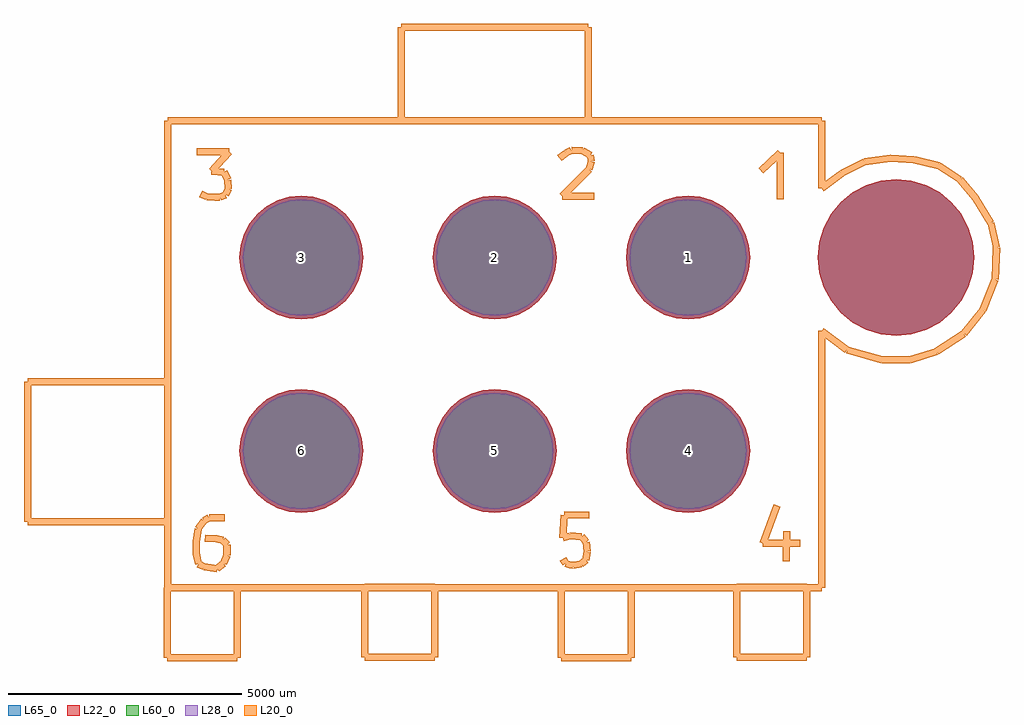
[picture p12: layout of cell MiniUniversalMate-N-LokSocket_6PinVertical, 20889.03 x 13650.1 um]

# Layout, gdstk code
import gdstk
lib = gdstk.Library(unit=1e-6, precision=1e-09)
def P(c, l, *ps):  # polygons
    for p in ps: c.add(gdstk.Polygon(p, *l))
L20_0 = (20, 0)
L22_0 = (22, 0)
L28_0 = (28, 0)
L60_0 = (60, 0)
L65_0 = (65, 0)

miniuniversalmate_n_loks = lib.new_cell('MiniUniversalMate-N-LokSocket_6PinVertical')
P(miniuniversalmate_n_loks, L22_0, [(10265.48,2070.1),(10233.292,2396.915),(10137.963,2711.171),(9983.158,3000.791),(9774.825,3254.645),(9520.971,3462.978),(9231.351,3617.783),(8917.095,3713.112),(8590.28,3745.3),(8263.465,3713.112),(7949.209,3617.783),(7659.589,3462.978),(7405.735,3254.645),(7197.402,3000.791),(7042.597,2711.171),(6947.268,2396.915),(6915.08,2070.1),(6947.268,1743.285),(7042.597,1429.029),(7197.402,1139.409),(7405.735,885.555),(7659.589,677.222),(7949.209,522.417),(8263.465,427.088),(8590.28,394.9),(8917.095,427.088),(9231.351,522.417),(9520.971,677.222),(9774.825,885.555),(9983.158,1139.409),(10137.963,1429.029),(10233.292,1743.285)],
  [(-2815.52,-2070.1),(-2840.973,-1811.668),(-2916.355,-1563.167),(-3038.769,-1334.147),(-3203.51,-1133.41),(-3404.247,-968.669),(-3633.267,-846.255),(-3881.768,-770.873),(-4140.2,-745.42),(-4398.632,-770.873),(-4647.133,-846.255),(-4876.153,-968.669),(-5076.89,-1133.41),(-5241.631,-1334.147),(-5364.045,-1563.167),(-5439.427,-1811.668),(-5464.88,-2070.1),(-5439.427,-2328.532),(-5364.045,-2577.033),(-5241.631,-2806.053),(-5076.89,-3006.79),(-4876.153,-3171.531),(-4647.133,-3293.945),(-4398.632,-3369.327),(-4140.2,-3394.78),(-3881.768,-3369.327),(-3633.267,-3293.945),(-3404.247,-3171.531),(-3203.51,-3006.79),(-3038.769,-2806.053),(-2916.355,-2577.033),(-2840.973,-2328.532)],
  [(1324.68,-2070.1),(1299.227,-1811.668),(1223.845,-1563.167),(1101.431,-1334.147),(936.69,-1133.41),(735.953,-968.669),(506.933,-846.255),(258.432,-770.873),(0,-745.42),(-258.432,-770.873),(-506.933,-846.255),(-735.953,-968.669),(-936.69,-1133.41),(-1101.431,-1334.147),(-1223.845,-1563.167),(-1299.227,-1811.668),(-1324.68,-2070.1),(-1299.227,-2328.532),(-1223.845,-2577.033),(-1101.431,-2806.053),(-936.69,-3006.79),(-735.953,-3171.531),(-506.933,-3293.945),(-258.432,-3369.327),(0,-3394.78),(258.432,-3369.327),(506.933,-3293.945),(735.953,-3171.531),(936.69,-3006.79),(1101.431,-2806.053),(1223.845,-2577.033),(1299.227,-2328.532)],
  [(5464.88,-2070.1),(5439.427,-1811.668),(5364.045,-1563.167),(5241.631,-1334.147),(5076.89,-1133.41),(4876.153,-968.669),(4647.133,-846.255),(4398.632,-770.873),(4140.2,-745.42),(3881.768,-770.873),(3633.267,-846.255),(3404.247,-968.669),(3203.51,-1133.41),(3038.769,-1334.147),(2916.355,-1563.167),(2840.973,-1811.668),(2815.52,-2070.1),(2840.973,-2328.532),(2916.355,-2577.033),(3038.769,-2806.053),(3203.51,-3006.79),(3404.247,-3171.531),(3633.267,-3293.945),(3881.768,-3369.327),(4140.2,-3394.78),(4398.632,-3369.327),(4647.133,-3293.945),(4876.153,-3171.531),(5076.89,-3006.79),(5241.631,-2806.053),(5364.045,-2577.033),(5439.427,-2328.532)],
  [(-2815.52,2070.1),(-2840.973,2328.532),(-2916.355,2577.033),(-3038.769,2806.053),(-3203.51,3006.79),(-3404.247,3171.531),(-3633.267,3293.945),(-3881.768,3369.327),(-4140.2,3394.78),(-4398.632,3369.327),(-4647.133,3293.945),(-4876.153,3171.531),(-5076.89,3006.79),(-5241.631,2806.053),(-5364.045,2577.033),(-5439.427,2328.532),(-5464.88,2070.1),(-5439.427,1811.668),(-5364.045,1563.167),(-5241.631,1334.147),(-5076.89,1133.41),(-4876.153,968.669),(-4647.133,846.255),(-4398.632,770.873),(-4140.2,745.42),(-3881.768,770.873),(-3633.267,846.255),(-3404.247,968.669),(-3203.51,1133.41),(-3038.769,1334.147),(-2916.355,1563.167),(-2840.973,1811.668)],
  [(1324.68,2070.1),(1299.227,2328.532),(1223.845,2577.033),(1101.431,2806.053),(936.69,3006.79),(735.953,3171.531),(506.933,3293.945),(258.432,3369.327),(0,3394.78),(-258.432,3369.327),(-506.933,3293.945),(-735.953,3171.531),(-936.69,3006.79),(-1101.431,2806.053),(-1223.845,2577.033),(-1299.227,2328.532),(-1324.68,2070.1),(-1299.227,1811.668),(-1223.845,1563.167),(-1101.431,1334.147),(-936.69,1133.41),(-735.953,968.669),(-506.933,846.255),(-258.432,770.873),(0,745.42),(258.432,770.873),(506.933,846.255),(735.953,968.669),(936.69,1133.41),(1101.431,1334.147),(1223.845,1563.167),(1299.227,1811.668)],
  [(5464.88,2070.1),(5439.427,2328.532),(5364.045,2577.033),(5241.631,2806.053),(5076.89,3006.79),(4876.153,3171.531),(4647.133,3293.945),(4398.632,3369.327),(4140.2,3394.78),(3881.768,3369.327),(3633.267,3293.945),(3404.247,3171.531),(3203.51,3006.79),(3038.769,2806.053),(2916.355,2577.033),(2840.973,2328.532),(2815.52,2070.1),(2840.973,1811.668),(2916.355,1563.167),(3038.769,1334.147),(3203.51,1133.41),(3404.247,968.669),(3633.267,846.255),(3881.768,770.873),(4140.2,745.42),(4398.632,770.873),(4647.133,846.255),(4876.153,968.669),(5076.89,1133.41),(5241.631,1334.147),(5364.045,1563.167),(5439.427,1811.668)])
P(miniuniversalmate_n_loks, L28_0, [(-2890.52,-2070.1),(-2914.532,-1826.3),(-2985.646,-1591.868),(-3101.129,-1375.815),(-3256.543,-1186.443),(-3445.915,-1031.029),(-3661.968,-915.546),(-3896.4,-844.432),(-4140.2,-820.42),(-4384,-844.432),(-4618.432,-915.546),(-4834.485,-1031.029),(-5023.857,-1186.443),(-5179.271,-1375.815),(-5294.754,-1591.868),(-5365.868,-1826.3),(-5389.88,-2070.1),(-5365.868,-2313.9),(-5294.754,-2548.332),(-5179.271,-2764.385),(-5023.857,-2953.757),(-4834.485,-3109.171),(-4618.432,-3224.654),(-4384,-3295.768),(-4140.2,-3319.78),(-3896.4,-3295.768),(-3661.968,-3224.654),(-3445.915,-3109.171),(-3256.543,-2953.757),(-3101.129,-2764.385),(-2985.646,-2548.332),(-2914.532,-2313.9)],
  [(1249.68,-2070.1),(1225.668,-1826.3),(1154.554,-1591.868),(1039.071,-1375.815),(883.657,-1186.443),(694.285,-1031.029),(478.232,-915.546),(243.8,-844.432),(0,-820.42),(-243.8,-844.432),(-478.232,-915.546),(-694.285,-1031.029),(-883.657,-1186.443),(-1039.071,-1375.815),(-1154.554,-1591.868),(-1225.668,-1826.3),(-1249.68,-2070.1),(-1225.668,-2313.9),(-1154.554,-2548.332),(-1039.071,-2764.385),(-883.657,-2953.757),(-694.285,-3109.171),(-478.232,-3224.654),(-243.8,-3295.768),(0,-3319.78),(243.8,-3295.768),(478.232,-3224.654),(694.285,-3109.171),(883.657,-2953.757),(1039.071,-2764.385),(1154.554,-2548.332),(1225.668,-2313.9)],
  [(5389.88,-2070.1),(5365.868,-1826.3),(5294.754,-1591.868),(5179.271,-1375.815),(5023.857,-1186.443),(4834.485,-1031.029),(4618.432,-915.546),(4384,-844.432),(4140.2,-820.42),(3896.4,-844.432),(3661.968,-915.546),(3445.915,-1031.029),(3256.543,-1186.443),(3101.129,-1375.815),(2985.646,-1591.868),(2914.532,-1826.3),(2890.52,-2070.1),(2914.532,-2313.9),(2985.646,-2548.332),(3101.129,-2764.385),(3256.543,-2953.757),(3445.915,-3109.171),(3661.968,-3224.654),(3896.4,-3295.768),(4140.2,-3319.78),(4384,-3295.768),(4618.432,-3224.654),(4834.485,-3109.171),(5023.857,-2953.757),(5179.271,-2764.385),(5294.754,-2548.332),(5365.868,-2313.9)],
  [(-2890.52,2070.1),(-2914.532,2313.9),(-2985.646,2548.332),(-3101.129,2764.385),(-3256.543,2953.757),(-3445.915,3109.171),(-3661.968,3224.654),(-3896.4,3295.768),(-4140.2,3319.78),(-4384,3295.768),(-4618.432,3224.654),(-4834.485,3109.171),(-5023.857,2953.757),(-5179.271,2764.385),(-5294.754,2548.332),(-5365.868,2313.9),(-5389.88,2070.1),(-5365.868,1826.3),(-5294.754,1591.868),(-5179.271,1375.815),(-5023.857,1186.443),(-4834.485,1031.029),(-4618.432,915.546),(-4384,844.432),(-4140.2,820.42),(-3896.4,844.432),(-3661.968,915.546),(-3445.915,1031.029),(-3256.543,1186.443),(-3101.129,1375.815),(-2985.646,1591.868),(-2914.532,1826.3)],
  [(1249.68,2070.1),(1225.668,2313.9),(1154.554,2548.332),(1039.071,2764.385),(883.657,2953.757),(694.285,3109.171),(478.232,3224.654),(243.8,3295.768),(0,3319.78),(-243.8,3295.768),(-478.232,3224.654),(-694.285,3109.171),(-883.657,2953.757),(-1039.071,2764.385),(-1154.554,2548.332),(-1225.668,2313.9),(-1249.68,2070.1),(-1225.668,1826.3),(-1154.554,1591.868),(-1039.071,1375.815),(-883.657,1186.443),(-694.285,1031.029),(-478.232,915.546),(-243.8,844.432),(0,820.42),(243.8,844.432),(478.232,915.546),(694.285,1031.029),(883.657,1186.443),(1039.071,1375.815),(1154.554,1591.868),(1225.668,1826.3)],
  [(5389.88,2070.1),(5365.868,2313.9),(5294.754,2548.332),(5179.271,2764.385),(5023.857,2953.757),(4834.485,3109.171),(4618.432,3224.654),(4384,3295.768),(4140.2,3319.78),(3896.4,3295.768),(3661.968,3224.654),(3445.915,3109.171),(3256.543,2953.757),(3101.129,2764.385),(2985.646,2548.332),(2914.532,2313.9),(2890.52,2070.1),(2914.532,1826.3),(2985.646,1591.868),(3101.129,1375.815),(3256.543,1186.443),(3445.915,1031.029),(3661.968,915.546),(3896.4,844.432),(4140.2,820.42),(4384,844.432),(4618.432,915.546),(4834.485,1031.029),(5023.857,1186.443),(5179.271,1375.815),(5294.754,1591.868),(5365.868,1826.3)])
P(miniuniversalmate_n_loks, L60_0, [(-2890.52,-2070.1),(-2914.532,-1826.3),(-2985.646,-1591.868),(-3101.129,-1375.815),(-3256.543,-1186.443),(-3445.915,-1031.029),(-3661.968,-915.546),(-3896.4,-844.432),(-4140.2,-820.42),(-4384,-844.432),(-4618.432,-915.546),(-4834.485,-1031.029),(-5023.857,-1186.443),(-5179.271,-1375.815),(-5294.754,-1591.868),(-5365.868,-1826.3),(-5389.88,-2070.1),(-5365.868,-2313.9),(-5294.754,-2548.332),(-5179.271,-2764.385),(-5023.857,-2953.757),(-4834.485,-3109.171),(-4618.432,-3224.654),(-4384,-3295.768),(-4140.2,-3319.78),(-3896.4,-3295.768),(-3661.968,-3224.654),(-3445.915,-3109.171),(-3256.543,-2953.757),(-3101.129,-2764.385),(-2985.646,-2548.332),(-2914.532,-2313.9)],
  [(1249.68,-2070.1),(1225.668,-1826.3),(1154.554,-1591.868),(1039.071,-1375.815),(883.657,-1186.443),(694.285,-1031.029),(478.232,-915.546),(243.8,-844.432),(0,-820.42),(-243.8,-844.432),(-478.232,-915.546),(-694.285,-1031.029),(-883.657,-1186.443),(-1039.071,-1375.815),(-1154.554,-1591.868),(-1225.668,-1826.3),(-1249.68,-2070.1),(-1225.668,-2313.9),(-1154.554,-2548.332),(-1039.071,-2764.385),(-883.657,-2953.757),(-694.285,-3109.171),(-478.232,-3224.654),(-243.8,-3295.768),(0,-3319.78),(243.8,-3295.768),(478.232,-3224.654),(694.285,-3109.171),(883.657,-2953.757),(1039.071,-2764.385),(1154.554,-2548.332),(1225.668,-2313.9)],
  [(5389.88,-2070.1),(5365.868,-1826.3),(5294.754,-1591.868),(5179.271,-1375.815),(5023.857,-1186.443),(4834.485,-1031.029),(4618.432,-915.546),(4384,-844.432),(4140.2,-820.42),(3896.4,-844.432),(3661.968,-915.546),(3445.915,-1031.029),(3256.543,-1186.443),(3101.129,-1375.815),(2985.646,-1591.868),(2914.532,-1826.3),(2890.52,-2070.1),(2914.532,-2313.9),(2985.646,-2548.332),(3101.129,-2764.385),(3256.543,-2953.757),(3445.915,-3109.171),(3661.968,-3224.654),(3896.4,-3295.768),(4140.2,-3319.78),(4384,-3295.768),(4618.432,-3224.654),(4834.485,-3109.171),(5023.857,-2953.757),(5179.271,-2764.385),(5294.754,-2548.332),(5365.868,-2313.9)],
  [(-2890.52,2070.1),(-2914.532,2313.9),(-2985.646,2548.332),(-3101.129,2764.385),(-3256.543,2953.757),(-3445.915,3109.171),(-3661.968,3224.654),(-3896.4,3295.768),(-4140.2,3319.78),(-4384,3295.768),(-4618.432,3224.654),(-4834.485,3109.171),(-5023.857,2953.757),(-5179.271,2764.385),(-5294.754,2548.332),(-5365.868,2313.9),(-5389.88,2070.1),(-5365.868,1826.3),(-5294.754,1591.868),(-5179.271,1375.815),(-5023.857,1186.443),(-4834.485,1031.029),(-4618.432,915.546),(-4384,844.432),(-4140.2,820.42),(-3896.4,844.432),(-3661.968,915.546),(-3445.915,1031.029),(-3256.543,1186.443),(-3101.129,1375.815),(-2985.646,1591.868),(-2914.532,1826.3)],
  [(1249.68,2070.1),(1225.668,2313.9),(1154.554,2548.332),(1039.071,2764.385),(883.657,2953.757),(694.285,3109.171),(478.232,3224.654),(243.8,3295.768),(0,3319.78),(-243.8,3295.768),(-478.232,3224.654),(-694.285,3109.171),(-883.657,2953.757),(-1039.071,2764.385),(-1154.554,2548.332),(-1225.668,2313.9),(-1249.68,2070.1),(-1225.668,1826.3),(-1154.554,1591.868),(-1039.071,1375.815),(-883.657,1186.443),(-694.285,1031.029),(-478.232,915.546),(-243.8,844.432),(0,820.42),(243.8,844.432),(478.232,915.546),(694.285,1031.029),(883.657,1186.443),(1039.071,1375.815),(1154.554,1591.868),(1225.668,1826.3)],
  [(5389.88,2070.1),(5365.868,2313.9),(5294.754,2548.332),(5179.271,2764.385),(5023.857,2953.757),(4834.485,3109.171),(4618.432,3224.654),(4384,3295.768),(4140.2,3319.78),(3896.4,3295.768),(3661.968,3224.654),(3445.915,3109.171),(3256.543,2953.757),(3101.129,2764.385),(2985.646,2548.332),(2914.532,2313.9),(2890.52,2070.1),(2914.532,1826.3),(2985.646,1591.868),(3101.129,1375.815),(3256.543,1186.443),(3445.915,1031.029),(3661.968,915.546),(3896.4,844.432),(4140.2,820.42),(4384,844.432),(4618.432,915.546),(4834.485,1031.029),(5023.857,1186.443),(5179.271,1375.815),(5294.754,1591.868),(5365.868,1826.3)])
P(miniuniversalmate_n_loks, L65_0, [(10265.48,2070.1),(10233.292,2396.915),(10137.963,2711.171),(9983.158,3000.791),(9774.825,3254.645),(9520.971,3462.978),(9231.351,3617.783),(8917.095,3713.112),(8590.28,3745.3),(8263.465,3713.112),(7949.209,3617.783),(7659.589,3462.978),(7405.735,3254.645),(7197.402,3000.791),(7042.597,2711.171),(6947.268,2396.915),(6915.08,2070.1),(6947.268,1743.285),(7042.597,1429.029),(7197.402,1139.409),(7405.735,885.555),(7659.589,677.222),(7949.209,522.417),(8263.465,427.088),(8590.28,394.9),(8917.095,427.088),(9231.351,522.417),(9520.971,677.222),(9774.825,885.555),(9983.158,1139.409),(10137.963,1429.029),(10233.292,1743.285)],
  [(-2815.52,-2070.1),(-2840.973,-1811.668),(-2916.355,-1563.167),(-3038.769,-1334.147),(-3203.51,-1133.41),(-3404.247,-968.669),(-3633.267,-846.255),(-3881.768,-770.873),(-4140.2,-745.42),(-4398.632,-770.873),(-4647.133,-846.255),(-4876.153,-968.669),(-5076.89,-1133.41),(-5241.631,-1334.147),(-5364.045,-1563.167),(-5439.427,-1811.668),(-5464.88,-2070.1),(-5439.427,-2328.532),(-5364.045,-2577.033),(-5241.631,-2806.053),(-5076.89,-3006.79),(-4876.153,-3171.531),(-4647.133,-3293.945),(-4398.632,-3369.327),(-4140.2,-3394.78),(-3881.768,-3369.327),(-3633.267,-3293.945),(-3404.247,-3171.531),(-3203.51,-3006.79),(-3038.769,-2806.053),(-2916.355,-2577.033),(-2840.973,-2328.532)],
  [(1324.68,-2070.1),(1299.227,-1811.668),(1223.845,-1563.167),(1101.431,-1334.147),(936.69,-1133.41),(735.953,-968.669),(506.933,-846.255),(258.432,-770.873),(0,-745.42),(-258.432,-770.873),(-506.933,-846.255),(-735.953,-968.669),(-936.69,-1133.41),(-1101.431,-1334.147),(-1223.845,-1563.167),(-1299.227,-1811.668),(-1324.68,-2070.1),(-1299.227,-2328.532),(-1223.845,-2577.033),(-1101.431,-2806.053),(-936.69,-3006.79),(-735.953,-3171.531),(-506.933,-3293.945),(-258.432,-3369.327),(0,-3394.78),(258.432,-3369.327),(506.933,-3293.945),(735.953,-3171.531),(936.69,-3006.79),(1101.431,-2806.053),(1223.845,-2577.033),(1299.227,-2328.532)],
  [(5464.88,-2070.1),(5439.427,-1811.668),(5364.045,-1563.167),(5241.631,-1334.147),(5076.89,-1133.41),(4876.153,-968.669),(4647.133,-846.255),(4398.632,-770.873),(4140.2,-745.42),(3881.768,-770.873),(3633.267,-846.255),(3404.247,-968.669),(3203.51,-1133.41),(3038.769,-1334.147),(2916.355,-1563.167),(2840.973,-1811.668),(2815.52,-2070.1),(2840.973,-2328.532),(2916.355,-2577.033),(3038.769,-2806.053),(3203.51,-3006.79),(3404.247,-3171.531),(3633.267,-3293.945),(3881.768,-3369.327),(4140.2,-3394.78),(4398.632,-3369.327),(4647.133,-3293.945),(4876.153,-3171.531),(5076.89,-3006.79),(5241.631,-2806.053),(5364.045,-2577.033),(5439.427,-2328.532)],
  [(-2815.52,2070.1),(-2840.973,2328.532),(-2916.355,2577.033),(-3038.769,2806.053),(-3203.51,3006.79),(-3404.247,3171.531),(-3633.267,3293.945),(-3881.768,3369.327),(-4140.2,3394.78),(-4398.632,3369.327),(-4647.133,3293.945),(-4876.153,3171.531),(-5076.89,3006.79),(-5241.631,2806.053),(-5364.045,2577.033),(-5439.427,2328.532),(-5464.88,2070.1),(-5439.427,1811.668),(-5364.045,1563.167),(-5241.631,1334.147),(-5076.89,1133.41),(-4876.153,968.669),(-4647.133,846.255),(-4398.632,770.873),(-4140.2,745.42),(-3881.768,770.873),(-3633.267,846.255),(-3404.247,968.669),(-3203.51,1133.41),(-3038.769,1334.147),(-2916.355,1563.167),(-2840.973,1811.668)],
  [(1324.68,2070.1),(1299.227,2328.532),(1223.845,2577.033),(1101.431,2806.053),(936.69,3006.79),(735.953,3171.531),(506.933,3293.945),(258.432,3369.327),(0,3394.78),(-258.432,3369.327),(-506.933,3293.945),(-735.953,3171.531),(-936.69,3006.79),(-1101.431,2806.053),(-1223.845,2577.033),(-1299.227,2328.532),(-1324.68,2070.1),(-1299.227,1811.668),(-1223.845,1563.167),(-1101.431,1334.147),(-936.69,1133.41),(-735.953,968.669),(-506.933,846.255),(-258.432,770.873),(0,745.42),(258.432,770.873),(506.933,846.255),(735.953,968.669),(936.69,1133.41),(1101.431,1334.147),(1223.845,1563.167),(1299.227,1811.668)],
  [(5464.88,2070.1),(5439.427,2328.532),(5364.045,2577.033),(5241.631,2806.053),(5076.89,3006.79),(4876.153,3171.531),(4647.133,3293.945),(4398.632,3369.327),(4140.2,3394.78),(3881.768,3369.327),(3633.267,3293.945),(3404.247,3171.531),(3203.51,3006.79),(3038.769,2806.053),(2916.355,2577.033),(2840.973,2328.532),(2815.52,2070.1),(2840.973,1811.668),(2916.355,1563.167),(3038.769,1334.147),(3203.51,1133.41),(3404.247,968.669),(3633.267,846.255),(3881.768,770.873),(4140.2,745.42),(4398.632,770.873),(4647.133,846.255),(4876.153,968.669),(5076.89,1133.41),(5241.631,1334.147),(5364.045,1563.167),(5439.427,1811.668)])
miniuniversalmate_n_loks.add(gdstk.FlexPath([(-7000.24,5001.26),(7000.24,5001.26)], 149.998, ends="flush", simple_path=True, layer=20, datatype=0))  # L20_0
miniuniversalmate_n_loks.add(gdstk.FlexPath([(-7000.24,-5001.26),(-7000.24,5001.26)], 149.998, ends="flush", simple_path=True, layer=20, datatype=0))  # L20_0
miniuniversalmate_n_loks.add(gdstk.FlexPath([(7000.24,-5001.26),(-7000.24,-5001.26)], 149.998, ends="flush", simple_path=True, layer=20, datatype=0))  # L20_0
miniuniversalmate_n_loks.add(gdstk.FlexPath([(-1998.98,7000.24),(-1998.98,5001.26)], 149.998, ends="flush", simple_path=True, layer=20, datatype=0))  # L20_0
miniuniversalmate_n_loks.add(gdstk.FlexPath([(1998.98,7000.24),(-1998.98,7000.24)], 149.998, ends="flush", simple_path=True, layer=20, datatype=0))  # L20_0
miniuniversalmate_n_loks.add(gdstk.FlexPath([(1998.98,5001.26),(1998.98,7000.24)], 149.998, ends="flush", simple_path=True, layer=20, datatype=0))  # L20_0
miniuniversalmate_n_loks.add(gdstk.FlexPath([(7000.24,5001.26),(7000.24,3550.92)], 149.998, ends="flush", simple_path=True, layer=20, datatype=0))  # L20_0
miniuniversalmate_n_loks.add(gdstk.FlexPath([(7429.5,3870.96),(7000.24,3550.92)], 149.998, ends="flush", simple_path=True, layer=20, datatype=0))  # L20_0
miniuniversalmate_n_loks.add(gdstk.FlexPath([(7919.72,4119.88),(7429.5,3870.96)], 149.998, ends="flush", simple_path=True, layer=20, datatype=0))  # L20_0
miniuniversalmate_n_loks.add(gdstk.FlexPath([(8470.9,4191),(7919.72,4119.88)], 149.998, ends="flush", simple_path=True, layer=20, datatype=0))  # L20_0
miniuniversalmate_n_loks.add(gdstk.FlexPath([(8978.9,4160.52),(8470.9,4191)], 149.998, ends="flush", simple_path=True, layer=20, datatype=0))  # L20_0
miniuniversalmate_n_loks.add(gdstk.FlexPath([(9509.76,4030.98),(8978.9,4160.52)], 149.998, ends="flush", simple_path=True, layer=20, datatype=0))  # L20_0
miniuniversalmate_n_loks.add(gdstk.FlexPath([(9959.34,3738.88),(9509.76,4030.98)], 149.998, ends="flush", simple_path=True, layer=20, datatype=0))  # L20_0
miniuniversalmate_n_loks.add(gdstk.FlexPath([(10299.7,3329.94),(9959.34,3738.88)], 149.998, ends="flush", simple_path=True, layer=20, datatype=0))  # L20_0
miniuniversalmate_n_loks.add(gdstk.FlexPath([(10619.74,2809.24),(10299.7,3329.94)], 149.998, ends="flush", simple_path=True, layer=20, datatype=0))  # L20_0
miniuniversalmate_n_loks.add(gdstk.FlexPath([(10739.12,2280.92),(10619.74,2809.24)], 149.998, ends="flush", simple_path=True, layer=20, datatype=0))  # L20_0
miniuniversalmate_n_loks.add(gdstk.FlexPath([(10711.18,1600.2),(10739.12,2280.92)], 149.998, ends="flush", simple_path=True, layer=20, datatype=0))  # L20_0
miniuniversalmate_n_loks.add(gdstk.FlexPath([(10449.56,949.96),(10711.18,1600.2)], 149.998, ends="flush", simple_path=True, layer=20, datatype=0))  # L20_0
miniuniversalmate_n_loks.add(gdstk.FlexPath([(10040.62,439.42),(10449.56,949.96)], 149.998, ends="flush", simple_path=True, layer=20, datatype=0))  # L20_0
miniuniversalmate_n_loks.add(gdstk.FlexPath([(9458.96,60.96),(10040.62,439.42)], 149.998, ends="flush", simple_path=True, layer=20, datatype=0))  # L20_0
miniuniversalmate_n_loks.add(gdstk.FlexPath([(8890,-119.38),(9458.96,60.96)], 149.998, ends="flush", simple_path=True, layer=20, datatype=0))  # L20_0
miniuniversalmate_n_loks.add(gdstk.FlexPath([(8280.4,-119.38),(8890,-119.38)], 149.998, ends="flush", simple_path=True, layer=20, datatype=0))  # L20_0
miniuniversalmate_n_loks.add(gdstk.FlexPath([(7541.26,88.9),(8280.4,-119.38)], 149.998, ends="flush", simple_path=True, layer=20, datatype=0))  # L20_0
miniuniversalmate_n_loks.add(gdstk.FlexPath([(7000.24,500.38),(7541.26,88.9)], 149.998, ends="flush", simple_path=True, layer=20, datatype=0))  # L20_0
miniuniversalmate_n_loks.add(gdstk.FlexPath([(7000.24,-5001.26),(7000.24,500.38)], 149.998, ends="flush", simple_path=True, layer=20, datatype=0))  # L20_0
miniuniversalmate_n_loks.add(gdstk.FlexPath([(-9999.98,-3589.02),(-9999.98,-589.28)], 149.998, ends="flush", simple_path=True, layer=20, datatype=0))  # L20_0
miniuniversalmate_n_loks.add(gdstk.FlexPath([(-7000.24,-3589.02),(-9999.98,-3589.02)], 149.998, ends="flush", simple_path=True, layer=20, datatype=0))  # L20_0
miniuniversalmate_n_loks.add(gdstk.FlexPath([(-7000.24,-589.28),(-7000.24,-3589.02)], 149.998, ends="flush", simple_path=True, layer=20, datatype=0))  # L20_0
miniuniversalmate_n_loks.add(gdstk.FlexPath([(-9999.98,-589.28),(-7000.24,-589.28)], 149.998, ends="flush", simple_path=True, layer=20, datatype=0))  # L20_0
miniuniversalmate_n_loks.add(gdstk.FlexPath([(-7010.4,-6499.86),(-7010.4,-5001.26)], 149.998, ends="flush", simple_path=True, layer=20, datatype=0))  # L20_0
miniuniversalmate_n_loks.add(gdstk.FlexPath([(-5511.8,-6499.86),(-7010.4,-6499.86)], 149.998, ends="flush", simple_path=True, layer=20, datatype=0))  # L20_0
miniuniversalmate_n_loks.add(gdstk.FlexPath([(-5511.8,-5001.26),(-5511.8,-6499.86)], 149.998, ends="flush", simple_path=True, layer=20, datatype=0))  # L20_0
miniuniversalmate_n_loks.add(gdstk.FlexPath([(-7010.4,-5001.26),(-5511.8,-5001.26)], 149.998, ends="flush", simple_path=True, layer=20, datatype=0))  # L20_0
miniuniversalmate_n_loks.add(gdstk.FlexPath([(-2778.76,-4991.1),(-1280.16,-4991.1)], 149.998, ends="flush", simple_path=True, layer=20, datatype=0))  # L20_0
miniuniversalmate_n_loks.add(gdstk.FlexPath([(-1280.16,-4991.1),(-1280.16,-6489.7)], 149.998, ends="flush", simple_path=True, layer=20, datatype=0))  # L20_0
miniuniversalmate_n_loks.add(gdstk.FlexPath([(-1280.16,-6489.7),(-2778.76,-6489.7)], 149.998, ends="flush", simple_path=True, layer=20, datatype=0))  # L20_0
miniuniversalmate_n_loks.add(gdstk.FlexPath([(-2778.76,-6489.7),(-2778.76,-4991.1)], 149.998, ends="flush", simple_path=True, layer=20, datatype=0))  # L20_0
miniuniversalmate_n_loks.add(gdstk.FlexPath([(1419.86,-6497.32),(1419.86,-4998.72)], 149.998, ends="flush", simple_path=True, layer=20, datatype=0))  # L20_0
miniuniversalmate_n_loks.add(gdstk.FlexPath([(2918.46,-6497.32),(1419.86,-6497.32)], 149.998, ends="flush", simple_path=True, layer=20, datatype=0))  # L20_0
miniuniversalmate_n_loks.add(gdstk.FlexPath([(2918.46,-4998.72),(2918.46,-6497.32)], 149.998, ends="flush", simple_path=True, layer=20, datatype=0))  # L20_0
miniuniversalmate_n_loks.add(gdstk.FlexPath([(1419.86,-4998.72),(2918.46,-4998.72)], 149.998, ends="flush", simple_path=True, layer=20, datatype=0))  # L20_0
miniuniversalmate_n_loks.add(gdstk.FlexPath([(5181.6,-4991.1),(6680.2,-4991.1)], 149.998, ends="flush", simple_path=True, layer=20, datatype=0))  # L20_0
miniuniversalmate_n_loks.add(gdstk.FlexPath([(6680.2,-4991.1),(6680.2,-6489.7)], 149.998, ends="flush", simple_path=True, layer=20, datatype=0))  # L20_0
miniuniversalmate_n_loks.add(gdstk.FlexPath([(6680.2,-6489.7),(5181.6,-6489.7)], 149.998, ends="flush", simple_path=True, layer=20, datatype=0))  # L20_0
miniuniversalmate_n_loks.add(gdstk.FlexPath([(5181.6,-6489.7),(5181.6,-4991.1)], 149.998, ends="flush", simple_path=True, layer=20, datatype=0))  # L20_0
miniuniversalmate_n_loks.add(gdstk.FlexPath([(6111.24,4310.38),(6111.24,3319.78)], 149.998, ends="flush", simple_path=True, layer=20, datatype=0))  # L20_0
miniuniversalmate_n_loks.add(gdstk.FlexPath([(5699.76,3929.38),(6111.24,4310.38)], 149.998, ends="flush", simple_path=True, layer=20, datatype=0))  # L20_0
miniuniversalmate_n_loks.add(gdstk.FlexPath([(1450.34,3380.74),(2131.06,3380.74)], 149.998, ends="flush", simple_path=True, layer=20, datatype=0))  # L20_0
miniuniversalmate_n_loks.add(gdstk.FlexPath([(2019.3,3959.86),(1450.34,3380.74)], 149.998, ends="flush", simple_path=True, layer=20, datatype=0))  # L20_0
miniuniversalmate_n_loks.add(gdstk.FlexPath([(2070.1,4130.04),(2019.3,3959.86)], 149.998, ends="flush", simple_path=True, layer=20, datatype=0))  # L20_0
miniuniversalmate_n_loks.add(gdstk.FlexPath([(2049.78,4259.58),(2070.1,4130.04)], 149.998, ends="flush", simple_path=True, layer=20, datatype=0))  # L20_0
miniuniversalmate_n_loks.add(gdstk.FlexPath([(1879.6,4351.02),(2049.78,4259.58)], 149.998, ends="flush", simple_path=True, layer=20, datatype=0))  # L20_0
miniuniversalmate_n_loks.add(gdstk.FlexPath([(1640.84,4361.18),(1879.6,4351.02)], 149.998, ends="flush", simple_path=True, layer=20, datatype=0))  # L20_0
miniuniversalmate_n_loks.add(gdstk.FlexPath([(1529.08,4310.38),(1640.84,4361.18)], 149.998, ends="flush", simple_path=True, layer=20, datatype=0))  # L20_0
miniuniversalmate_n_loks.add(gdstk.FlexPath([(1389.38,4201.16),(1529.08,4310.38)], 149.998, ends="flush", simple_path=True, layer=20, datatype=0))  # L20_0
miniuniversalmate_n_loks.add(gdstk.FlexPath([(-6159.5,3370.58),(-6289.04,3429)], 149.998, ends="flush", simple_path=True, layer=20, datatype=0))  # L20_0
miniuniversalmate_n_loks.add(gdstk.FlexPath([(-5989.32,3360.42),(-6159.5,3370.58)], 149.998, ends="flush", simple_path=True, layer=20, datatype=0))  # L20_0
miniuniversalmate_n_loks.add(gdstk.FlexPath([(-5880.1,3360.42),(-5989.32,3360.42)], 149.998, ends="flush", simple_path=True, layer=20, datatype=0))  # L20_0
miniuniversalmate_n_loks.add(gdstk.FlexPath([(-5760.72,3411.22),(-5880.1,3360.42)], 149.998, ends="flush", simple_path=True, layer=20, datatype=0))  # L20_0
miniuniversalmate_n_loks.add(gdstk.FlexPath([(-5699.76,3540.76),(-5760.72,3411.22)], 149.998, ends="flush", simple_path=True, layer=20, datatype=0))  # L20_0
miniuniversalmate_n_loks.add(gdstk.FlexPath([(-5709.92,3731.26),(-5699.76,3540.76)], 149.998, ends="flush", simple_path=True, layer=20, datatype=0))  # L20_0
miniuniversalmate_n_loks.add(gdstk.FlexPath([(-5791.2,3898.9),(-5709.92,3731.26)], 149.998, ends="flush", simple_path=True, layer=20, datatype=0))  # L20_0
miniuniversalmate_n_loks.add(gdstk.FlexPath([(-6060.44,3919.22),(-5791.2,3898.9)], 149.998, ends="flush", simple_path=True, layer=20, datatype=0))  # L20_0
miniuniversalmate_n_loks.add(gdstk.FlexPath([(-5679.44,4330.7),(-6060.44,3919.22)], 149.998, ends="flush", simple_path=True, layer=20, datatype=0))  # L20_0
miniuniversalmate_n_loks.add(gdstk.FlexPath([(-6380.48,4330.7),(-5679.44,4330.7)], 149.998, ends="flush", simple_path=True, layer=20, datatype=0))  # L20_0
miniuniversalmate_n_loks.add(gdstk.FlexPath([(-5951.22,-3949.7),(-6200.14,-3939.54)], 149.998, ends="flush", simple_path=True, layer=20, datatype=0))  # L20_0
miniuniversalmate_n_loks.add(gdstk.FlexPath([(-5819.14,-3980.18),(-5951.22,-3949.7)], 149.998, ends="flush", simple_path=True, layer=20, datatype=0))  # L20_0
miniuniversalmate_n_loks.add(gdstk.FlexPath([(-5730.24,-4079.24),(-5819.14,-3980.18)], 149.998, ends="flush", simple_path=True, layer=20, datatype=0))  # L20_0
miniuniversalmate_n_loks.add(gdstk.FlexPath([(-5730.24,-4300.22),(-5730.24,-4079.24)], 149.998, ends="flush", simple_path=True, layer=20, datatype=0))  # L20_0
miniuniversalmate_n_loks.add(gdstk.FlexPath([(-5808.98,-4480.56),(-5730.24,-4300.22)], 149.998, ends="flush", simple_path=True, layer=20, datatype=0))  # L20_0
miniuniversalmate_n_loks.add(gdstk.FlexPath([(-5941.06,-4589.78),(-5808.98,-4480.56)], 149.998, ends="flush", simple_path=True, layer=20, datatype=0))  # L20_0
miniuniversalmate_n_loks.add(gdstk.FlexPath([(-6220.46,-4549.14),(-5941.06,-4589.78)], 149.998, ends="flush", simple_path=True, layer=20, datatype=0))  # L20_0
miniuniversalmate_n_loks.add(gdstk.FlexPath([(-6339.84,-4490.72),(-6220.46,-4549.14)], 149.998, ends="flush", simple_path=True, layer=20, datatype=0))  # L20_0
miniuniversalmate_n_loks.add(gdstk.FlexPath([(-6390.64,-4269.74),(-6339.84,-4490.72)], 149.998, ends="flush", simple_path=True, layer=20, datatype=0))  # L20_0
miniuniversalmate_n_loks.add(gdstk.FlexPath([(-6390.64,-4010.66),(-6390.64,-4269.74)], 149.998, ends="flush", simple_path=True, layer=20, datatype=0))  # L20_0
miniuniversalmate_n_loks.add(gdstk.FlexPath([(-6350,-3738.88),(-6390.64,-4010.66)], 149.998, ends="flush", simple_path=True, layer=20, datatype=0))  # L20_0
miniuniversalmate_n_loks.add(gdstk.FlexPath([(-6220.46,-3561.08),(-6350,-3738.88)], 149.998, ends="flush", simple_path=True, layer=20, datatype=0))  # L20_0
miniuniversalmate_n_loks.add(gdstk.FlexPath([(-6111.24,-3500.12),(-6220.46,-3561.08)], 149.998, ends="flush", simple_path=True, layer=20, datatype=0))  # L20_0
miniuniversalmate_n_loks.add(gdstk.FlexPath([(-5880.1,-3500.12),(-6111.24,-3500.12)], 149.998, ends="flush", simple_path=True, layer=20, datatype=0))  # L20_0
miniuniversalmate_n_loks.add(gdstk.FlexPath([(-5781.04,-3500.12),(-5880.1,-3500.12)], 149.998, ends="flush", simple_path=True, layer=20, datatype=0))  # L20_0
miniuniversalmate_n_loks.add(gdstk.FlexPath([(1518.92,-4480.56),(1460.5,-4378.96)], 149.998, ends="flush", simple_path=True, layer=20, datatype=0))  # L20_0
miniuniversalmate_n_loks.add(gdstk.FlexPath([(1620.52,-4511.04),(1518.92,-4480.56)], 149.998, ends="flush", simple_path=True, layer=20, datatype=0))  # L20_0
miniuniversalmate_n_loks.add(gdstk.FlexPath([(1678.94,-4521.2),(1620.52,-4511.04)], 149.998, ends="flush", simple_path=True, layer=20, datatype=0))  # L20_0
miniuniversalmate_n_loks.add(gdstk.FlexPath([(1849.12,-4490.72),(1678.94,-4521.2)], 149.998, ends="flush", simple_path=True, layer=20, datatype=0))  # L20_0
miniuniversalmate_n_loks.add(gdstk.FlexPath([(1950.72,-4409.44),(1849.12,-4490.72)], 149.998, ends="flush", simple_path=True, layer=20, datatype=0))  # L20_0
miniuniversalmate_n_loks.add(gdstk.FlexPath([(1981.2,-4229.1),(1950.72,-4409.44)], 149.998, ends="flush", simple_path=True, layer=20, datatype=0))  # L20_0
miniuniversalmate_n_loks.add(gdstk.FlexPath([(1960.88,-4020.82),(1981.2,-4229.1)], 149.998, ends="flush", simple_path=True, layer=20, datatype=0))  # L20_0
miniuniversalmate_n_loks.add(gdstk.FlexPath([(1859.28,-3909.06),(1960.88,-4020.82)], 149.998, ends="flush", simple_path=True, layer=20, datatype=0))  # L20_0
miniuniversalmate_n_loks.add(gdstk.FlexPath([(1610.36,-3888.74),(1859.28,-3909.06)], 149.998, ends="flush", simple_path=True, layer=20, datatype=0))  # L20_0
miniuniversalmate_n_loks.add(gdstk.FlexPath([(1460.5,-3929.38),(1610.36,-3888.74)], 149.998, ends="flush", simple_path=True, layer=20, datatype=0))  # L20_0
miniuniversalmate_n_loks.add(gdstk.FlexPath([(1490.98,-3439.16),(1460.5,-3929.38)], 149.998, ends="flush", simple_path=True, layer=20, datatype=0))  # L20_0
miniuniversalmate_n_loks.add(gdstk.FlexPath([(2019.3,-3449.32),(1490.98,-3439.16)], 149.998, ends="flush", simple_path=True, layer=20, datatype=0))  # L20_0
miniuniversalmate_n_loks.add(gdstk.FlexPath([(5740.4,-4048.76),(6540.5,-4048.76)], 149.998, ends="flush", simple_path=True, layer=20, datatype=0))  # L20_0
miniuniversalmate_n_loks.add(gdstk.FlexPath([(6040.12,-3241.04),(5740.4,-4048.76)], 149.998, ends="flush", simple_path=True, layer=20, datatype=0))  # L20_0
miniuniversalmate_n_loks.add(gdstk.FlexPath([(6240.78,-4429.76),(6250.94,-3789.68)], 149.998, ends="flush", simple_path=True, layer=20, datatype=0))  # L20_0
miniuniversalmate_n_loks.add(gdstk.Label('6', (-4140.2,-2070.1), layer=28, texttype=0))
miniuniversalmate_n_loks.add(gdstk.Label('5', (0,-2070.1), layer=28, texttype=0))
miniuniversalmate_n_loks.add(gdstk.Label('4', (4140.2,-2070.1), layer=28, texttype=0))
miniuniversalmate_n_loks.add(gdstk.Label('3', (-4140.2,2070.1), layer=28, texttype=0))
miniuniversalmate_n_loks.add(gdstk.Label('2', (0,2070.1), layer=28, texttype=0))
miniuniversalmate_n_loks.add(gdstk.Label('1', (4140.2,2070.1), layer=28, texttype=0))
miniuniversalmate_n_loks.add(gdstk.Label('type', (-231.14,-9979.66), layer=9, texttype=0))
miniuniversalmate_n_loks.add(gdstk.Label('devicename', (10.16,9370.06), layer=9, texttype=0))

lib.write_gds('MiniUniversalMate-N-LokSocket_6PinVertical.gds')
